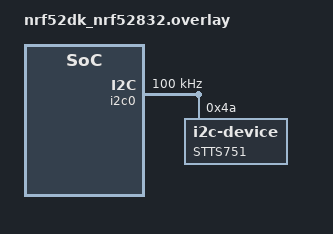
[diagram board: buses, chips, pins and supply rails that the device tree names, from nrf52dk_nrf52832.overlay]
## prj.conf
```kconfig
CONFIG_I2C=y
CONFIG_CBPRINTF_FP_SUPPORT=y
CONFIG_GPIO=y
CONFIG_SENSOR=y
```

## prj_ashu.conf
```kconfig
# FOTA Settings
CONFIG_NCS_SAMPLES_DEFAULTS=y
CONFIG_BT=y
CONFIG_BT_PERIPHERAL=y
CONFIG_BT_DEVICE_NAME="FOTA_STTS751"
# Enable the LBS service
CONFIG_BT_LBS=y
CONFIG_BT_LBS_POLL_BUTTON=y
CONFIG_DK_LIBRARY=y
CONFIG_SYSTEM_WORKQUEUE_STACK_SIZE=2048
CONFIG_NCS_SAMPLE_MCUMGR_BT_OTA_DFU=y
```

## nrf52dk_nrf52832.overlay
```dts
&i2c0 {
    compatible = "nordic,nrf-twim";
    status = "okay";

    clock-frequency = <I2C_BITRATE_STANDARD>;

     mysensor: mysensor@4a{
        status = "okay";
        compatible = "i2c-device";
        reg = <0x4a>;
       
        label = "STTS751";
        
    };
};

// /* For node Configuration */
// &pinctrl {
// 	uart0_default: uart0_default {
// 		group1 {
// 			psels = <NRF_PSEL(UART_TX, 0, 24)>, //6   for nrf52dk5832 / 5840
// 				<NRF_PSEL(UART_RX, 0, 23)>,   //8	  for nrf52dk5832
// 				<NRF_PSEL(UART_RTS, 0, 5)>,
// 				<NRF_PSEL(UART_CTS, 0, 7)>;
// 		};
// 	};

// 	uart0_sleep: uart0_sleep {
// 		group1 {
// 			psels = <NRF_PSEL(UART_TX, 0, 24)>,    //6
// 				<NRF_PSEL(UART_RX, 0, 23)>,        //8
// 				<NRF_PSEL(UART_RTS, 0, 5)>,
// 				<NRF_PSEL(UART_CTS, 0, 7)>;
// 			low-power-enable;
// 		};
// 	};
// 	i2c0_default: i2c0_default {
// 		group1 {
// 			psels = <NRF_PSEL(TWIM_SDA, 0, 26)>,  
// 				<NRF_PSEL(TWIM_SCL, 0, 25)>;      
// 		};
// 	};

// 	i2c0_sleep: i2c0_sleep {
// 		group1 {
// 			psels = <NRF_PSEL(TWIM_SDA, 0, 26)>,   
// 				<NRF_PSEL(TWIM_SCL, 0, 25)>;        
// 			low-power-enable;
// 		};
// 	};
// };
```

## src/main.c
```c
#include <zephyr/zephyr.h> // header files for the project
#include <zephyr/device.h>
#include <zephyr/devicetree.h>
#include <zephyr/drivers/i2c.h>
#include <zephyr/sys/printk.h>
#include <stdio.h>

#define delayTime 1000
#define stts751TempHighReg 0x00 // Define the register address for temperature high byte
#define stts751TempLowReg 0x02	// Define the register address for temperature low byte
#define stts751ConfigReg 0x03	// Define the register address for configuration

#define I2C_NODE DT_NODELABEL(mysensor) // Define the I2C node label as 'mysensor'

void main(void) // main function
{
	
	fota_ashu_start();
	int ret; // Declare a variable named 'ret' of type 'int'

	static const struct i2c_dt_spec devI2c = I2C_DT_SPEC_GET(I2C_NODE); // Get the I2C device specification from the device tree using the specified node label
	if (!device_is_ready(devI2c.bus))
	{															  // Check if the I2C bus associated with the device is not ready
		printk("I2C bus %s is not ready!\n\r", devI2c.bus->name); // Print an error message indicating that the I2C bus is not ready
		return;													  // Return from the function
	}

	uint8_t buffer[2] = {stts751ConfigReg, 0x8C};		 // Define a buffer containing data to be written to the I2C device
	ret = i2c_write_dt(&devI2c, buffer, sizeof(buffer)); // Write data to the I2C device using the device-specific I2C descriptor and the buffer
	if (ret != 0)
	{																							  // Check if the return value from the I2C write operation is not equal to 0 (indicating an error)
		printk("Failed to write to I2C device address %x at Reg. %x \n", devI2c.addr, buffer[0]); // Print an error message indicating the failure to write to the I2C device
		return;																					  // Return from the function
	}

	while (1)
	{ // infinite loop

		uint8_t temp_reading[2] = {0};											   // Define an array to store temperature readings
		uint8_t sensor_regs[2] = {stts751TempLowReg, stts751TempHighReg};		   // Define an array containing the sensor register addresses for temperature readings
		ret = i2c_write_read_dt(&devI2c, &sensor_regs[0], 1, &temp_reading[0], 1); // Perform an I2C write-read operation to read temperature data from the sensor registers
		if (ret != 0)
		{																									   // Check if the return value from the I2C operation is not equal to 0 (indicating an error)
			printk("Failed to write/read I2C device address %x at Reg. %x \r\n", devI2c.addr, sensor_regs[0]); // Print an error message indicating the failure to write/read from the I2C device
		}
		ret = i2c_write_read_dt(&devI2c, &sensor_regs[1], 1, &temp_reading[1], 1); // Perform another I2C write-read operation to read temperature data from the sensor registers
		if (ret != 0)
		{																									   // Check if the return value from the I2C operation is not equal to 0 (indicating an error)
			printk("Failed to write/read I2C device address %x at Reg. %x \r\n", devI2c.addr, sensor_regs[1]); // Print an error message indicating the failure to write/read from the I2C device
		}

		int temp = ((int)temp_reading[1] * 256 + ((int)temp_reading[0] & 0xF0)) / 16; // Calculate the temperature value from the raw temperature readings
		if (temp > 2047)															  // Check if the temperature value is greater than 2047 (indicating a negative temperature)
		{
			temp -= 4096; // Adjust the temperature value for negative temperatures
		}

		double cTemp = temp * 0.0625; // Convert the temperature value to Celsius and Fahrenheit
		double fTemp = cTemp * 1.8 + 32;

		printk("Temperature in Celsius : %.2f °C  Temperature in Fahrenheit : %.2f F\n", cTemp, fTemp); // Print the temperature in Celsius and Fahrenheit
		k_msleep(delayTime);																		// Delay for a specified time before the next iteration
	}
}
```

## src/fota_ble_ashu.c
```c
#include "fota_ble_ashu.h"
#include <zephyr/kernel.h>
#include <zephyr/sys/printk.h>
#include <zephyr/bluetooth/bluetooth.h>
#include <zephyr/bluetooth/hci.h>
#include <zephyr/bluetooth/conn.h>
#include <zephyr/bluetooth/gatt.h>
#include <zephyr/settings/settings.h>
#include <dk_buttons_and_leds.h>

#define CON_STATUS_LED DK_LED2
#define DEVICE_NAME CONFIG_BT_DEVICE_NAME
#define DEVICE_NAME_LEN (sizeof(DEVICE_NAME) - 1)

static const struct bt_data ad[] = {
    BT_DATA_BYTES(BT_DATA_FLAGS, (BT_LE_AD_GENERAL | BT_LE_AD_NO_BREDR)),
    BT_DATA(BT_DATA_NAME_COMPLETE, DEVICE_NAME, DEVICE_NAME_LEN),
};

static void connected(struct bt_conn *conn, uint8_t err)
{
    if (err) {
        printk("Connection failed (err %u)\n", err);
        return;
    }
    printk("Connected\n");
    dk_set_led_on(CON_STATUS_LED);
}

static void disconnected(struct bt_conn *conn, uint8_t reason)
{
    printk("Disconnected (reason %u)\n", reason);
    dk_set_led_off(CON_STATUS_LED);
}

BT_CONN_CB_DEFINE(conn_callbacks) = {
    .connected = connected,
    .disconnected = disconnected,
};

void fota_ashu_start(void)
{
    int err;

    printk("Starting Bluetooth FOTA example with LED indication\n");

    err = dk_leds_init();
    if (err) {
        printk("LED init failed (err %d)\n", err);
        return;
    }

    err = bt_enable(NULL);
    if (err) {
        printk("Bluetooth init failed (err %d)\n", err);
        return;
    }

    printk("Bluetooth initialized\n");

    if (IS_ENABLED(CONFIG_SETTINGS)) {
        settings_load();
    }

    err = bt_le_adv_start(BT_LE_ADV_CONN, ad, ARRAY_SIZE(ad), NULL, 0);
    if (err) {
        printk("Advertising failed to start (err %d)\n", err);
        return;
    }

    printk("Advertising successfully started\n");
    printk("BLE FOTA Ready by Ashutosh.......................\n");
}
```
